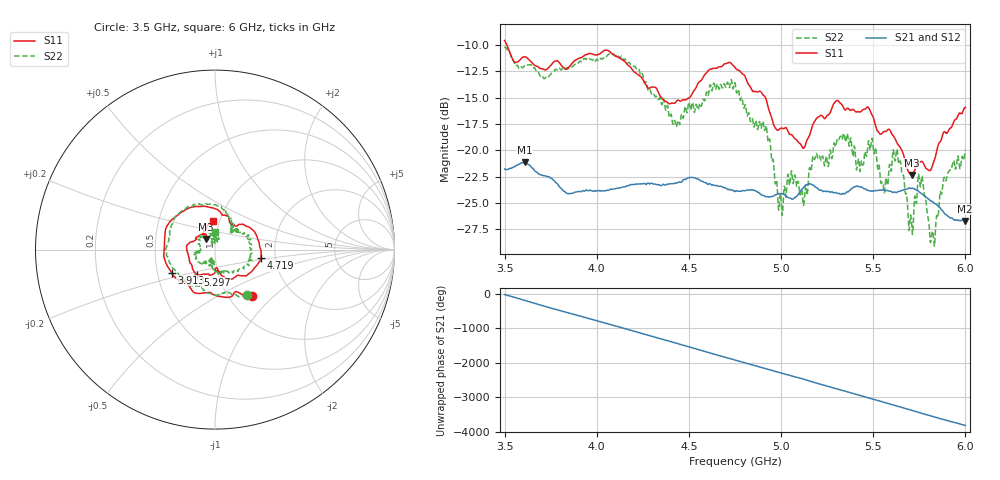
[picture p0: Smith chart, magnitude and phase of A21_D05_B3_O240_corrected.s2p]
! Created with skrf 1.9.0 (http://scikit-rf.org).
# Hz S RI R 50.0
!freq ReS11 ImS11 ReS21 ImS21 ReS12 ImS12 ReS22 ImS22
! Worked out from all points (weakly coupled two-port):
!   1601 points, 3.5 GHz to 6 GHz, reference 50 ohm
!   highest |S21| = -21.14 dB at 3.609 GHz (marker M1); lowest = -26.7 dB at 5.995 GHz (marker M2)
!   lowest |S11| = -22.3 dB at 5.709 GHz (marker M3), VSWR 1.17, Z = 45 + j5.31 ohm
!   |S11| at or under -10 dB: 3.512 GHz to end of sweep
!   |S22| runs from -29.1 to -10.2 dB; largest |S21 - S12| = 0.00096
!   S11 on the Smith chart (normalised r, x): 3.5 GHz: 1.27, -0.74; 3.913 GHz: 0.59, -0.16; 4.719 GHz: 1.68, -0.17; 5.297 GHz: 0.79, -0.23; 6 GHz: 0.93, +0.31
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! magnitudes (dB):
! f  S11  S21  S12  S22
! 3.5 GHz  -9.6  -21.8  -21.8  -10.2
! 3.609 GHz  -11.1  -21.1  -21.2  -12.0
! 3.913 GHz  -11.2  -23.9  -23.9  -11.5
! 3.917 GHz  -11.2  -23.9  -23.9  -11.6
! 4.125 GHz  -11.3  -23.6  -23.5  -11.3
! 4.334 GHz  -14.5  -23.3  -23.2  -15.2
! 4.439 GHz  -15.2  -23.1  -23.0  -17.3
! 4.719 GHz  -11.7  -23.7  -23.7  -14.1
! 4.75 GHz  -12.2  -23.9  -23.8  -13.7
! 4.912 GHz  -14.9  -24.4  -24.3  -18.1
! 4.997 GHz  -17.9  -24.1  -24.1  -24.1
! 5.13 GHz  -19.6  -23.4  -23.4  -23.6
! 5.167 GHz  -17.8  -23.3  -23.2  -21.3
! 5.297 GHz  -15.4  -24.0  -24.0  -19.6
! 5.584 GHz  -18.0  -23.9  -23.8  -22.0
! 5.638 GHz  -19.5  -23.9  -23.9  -21.2
! 5.709 GHz  -22.3  -23.6  -23.5  -27.2
! 5.756 GHz  -21.1  -24.0  -24.0  -23.5
! 5.823 GHz  -21.3  -24.9  -24.9  -27.7
! 5.889 GHz  -18.2  -26.0  -26.0  -22.8
! 5.995 GHz  -16.0  -26.7  -26.6  -20.6
! 6 GHz  -16.0  -26.7  -26.6  -20.0
